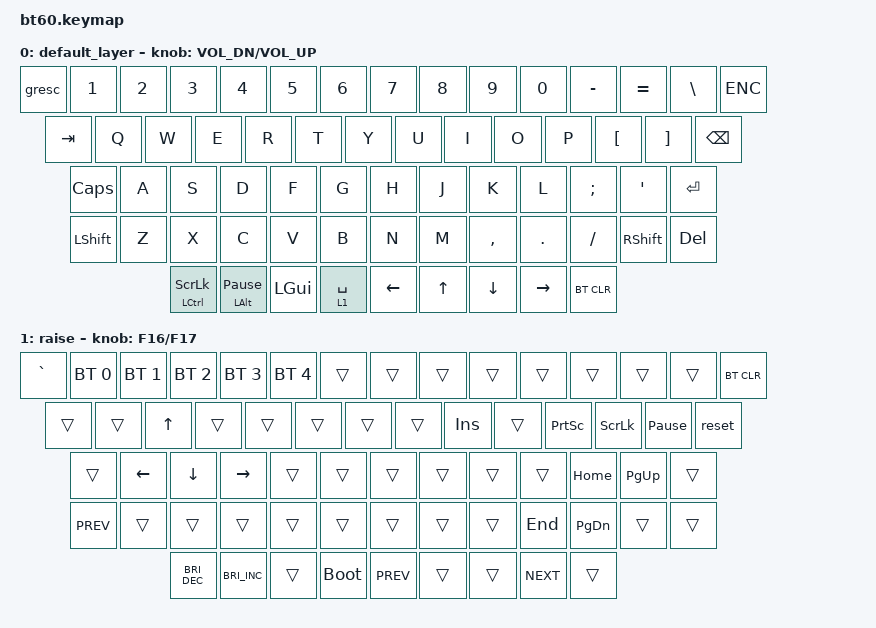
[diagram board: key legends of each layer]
#include <behaviors.dtsi>
#include <dt-bindings/zmk/keys.h>
#include <dt-bindings/zmk/bt.h>

&left_encoder {
    resolution = <2>;
};

&kscan0 {
    debounce-period = <5>;
};

&mt {
    quick_tap_ms = <200>;
};

/ {
	keymap {
		compatible = "zmk,keymap";

		default_layer {
				// ------------------------------------------------------------------------------------------
				// | ESC |  1  |  2  |  3  |  4  |  5  |  6  |  7  |  8  |  9  |  0  |  -  |  =  | BACKSLASH|ENC |
				// | TAB  |  Q  |  W  |  E  |  R  |  T  |  Y  |  U  |  I  |  O  |  P  |  [  |  ]  |   BKSP    |
				// | CAPS  |  A  |  S  |  D  |  F  |  G  |  H  |  J  |  K  |  L  |  ;  |  '  |     ENTER    |
				// |  SHIFT    |  Z  |  X  |  C  |  V  |  B  |  N  |  M  |  ,  |  .  | /   | SHIFT  |  DELETE  |   
				// |  CTL  |  WIN  |  ALT  |            SPACE               | ALT | 1    |  MENU    |  CTRL    |
				// ------------------------------------------------------------------------------------------
			bindings = <
				&gresc &kp N1 &kp N2 &kp N3 &kp N4 &kp N5 &kp N6 &kp N7 &kp  N8   &kp  N9 &kp  N0  &kp MINUS &kp EQUAL &kp BACKSLASH &kp ENC
				&kp TAB  &kp Q  &kp W  &kp E  &kp R  &kp T  &kp Y  &kp U  &kp  I    &kp  O  &kp  P   &kp LBKT &kp RBKT  &kp BKSP
				&kp CAPS  &kp A  &kp S  &kp D  &kp F  &kp G  &kp H  &kp J  &kp  K    &kp  L  &kp SEMI &kp SQT           &kp RET
				&kp LSHFT  &kp Z  &kp X  &kp C  &kp V  &kp B  &kp N  &kp M  &kp COMMA &kp DOT &kp FSLH     &kp RSHFT    &kp DEL
				&mt LCTRL SLCK &mt LALT PAUSE_BREAK &kp LGUI         &lt 1 SPACE         &kp LEFT  &kp UP &kp DOWN &kp RIGHT &bt BT_CLR
			>;
			sensor-bindings = <&inc_dec_kp C_VOL_DN C_VOL_UP>;
		};
		raise {
			bindings = <
				&kp GRAVE &bt BT_SEL 0 &bt BT_SEL 1 &bt BT_SEL 2 &bt BT_SEL 3 &bt BT_SEL 4 &trans &trans &trans &trans &trans &trans &trans &trans &bt BT_CLR
				&trans &trans &kp UP &trans &trans &trans &trans &trans &kp INS &trans &kp PSCRN &kp SLCK &kp PAUSE_BREAK &reset
				&trans    &kp LEFT &kp DOWN &kp RIGHT &trans &trans &trans &trans &trans &trans &kp HOME  &kp PG_UP   &trans
				&kp C_PREV &trans &trans &trans &trans &trans &trans &trans &trans &kp END &kp PG_DN  &trans &trans
				&kp C_BRI_DEC &kp C_BRI_INC  &trans              &bootloader                        &kp C_PREV &trans &trans &kp C_NEXT &trans
			>;
			sensor-bindings = <&inc_dec_kp F16 F17>;
		};
	};
};
